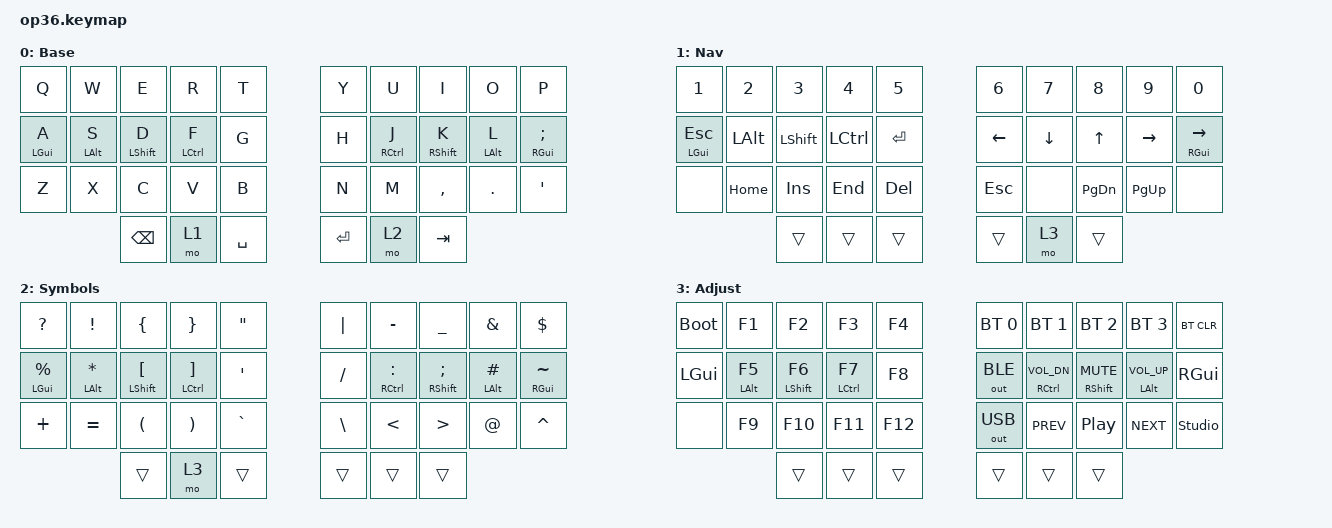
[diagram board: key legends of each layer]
#include "keys_ru.h"
#include <behaviors.dtsi>
#include <dt-bindings/zmk/bt.h>
#include <dt-bindings/zmk/keys.h>
#include <dt-bindings/zmk/outputs.h>

&mt {
    quick-tap-ms = <200>;
    flavor = "tap-preferred";
    require-prior-idle-ms = <125>;
};

/ {
    behaviors {
        hml: home_row_mod_left {
            compatible = "zmk,behavior-hold-tap";
            #binding-cells = <2>;
            flavor = "balanced";
            require-prior-idle-ms = <150>;
            tapping-term-ms = <280>;
            quick-tap-ms = <175>;
            bindings = <&kp>, <&kp>;

            hold-trigger-key-positions = <5 6 7 8 9 15 16 17 18 19 25 26 27 28 29 33 34 35>;
            hold-trigger-on-release;
        };

        hmr: home_row_mod_right {
            compatible = "zmk,behavior-hold-tap";
            #binding-cells = <2>;
            flavor = "balanced";
            require-prior-idle-ms = <150>;
            tapping-term-ms = <280>;
            quick-tap-ms = <175>;
            bindings = <&kp>, <&kp>;

            hold-trigger-key-positions = <0 1 2 3 4 10 11 12 13 14 20 21 22 23 24 30 31 32>;
            hold-trigger-on-release;
        };
    };

    combos {
        compatible = "zmk,combos";

        kha {
            bindings = <&kp LBKT>;
            key-positions = <6 7>;
        };

        hrdsgn {
            bindings = <&kp RBKT>;
            key-positions = <7 8>;
        };
    };

    keymap {
        compatible = "zmk,keymap";

        base {
            bindings = <
  &kp Q        &kp W        &kp E         &kp R          &kp T                          &kp Y  &kp U         &kp I         &kp O        &kp P
  &hml LGUI A  &hml LALT S  &hml LSHFT D  &hml LCTRL F   &kp G                          &kp H  &hmr RCTRL J  &hmr RSHFT K  &hmr LALT L  &hmr RGUI SEMICOLON
  &kp Z        &kp X        &kp C         &kp V          &kp B                          &kp N  &kp M         &kp COMMA     &kp DOT      &kp SQT
                                          &kp BACKSPACE  &mo 1  &kp SPACE    &kp ENTER  &mo 2  &kp TAB
            >;

            display-name = "Base";
        };

        nav {
            bindings = <
  &kp N1         &kp N2    &kp N3     &kp N4     &kp N5                        &kp N6          &kp N7          &kp N8     &kp N9     &kp N0
  &hml LGUI ESC  &kp LALT  &kp LSHFT  &kp LCTRL  &kp ENTER                     &kp LEFT_ARROW  &kp DOWN_ARROW  &kp UP     &kp RIGHT  &hmr RGUI RIGHT
  &none          &kp HOME  &kp INS    &kp END    &kp DELETE                    &kp ESC         &none           &kp PG_DN  &kp PG_UP  &none
                                      &trans     &trans      &trans    &trans  &mo 3           &trans
            >;

            display-name = "Nav";
        };

        sym {
            bindings = <
  &kp QUESTION       &kp EXCLAMATION  &kp LEFT_BRACE           &kp RIGHT_BRACE           &kp DOUBLE_QUOTES                    &kp PIPE  &kp MINUS         &kp UNDER             &kp AMPERSAND   &kp DOLLAR
  &hml LGUI PERCENT  &hml LALT ASTRK  &hml LSHFT LEFT_BRACKET  &hml LCTRL RIGHT_BRACKET  &kp SINGLE_QUOTE                     &kp FSLH  &hmr RCTRL COLON  &hmr RSHFT SEMICOLON  &hmr LALT HASH  &hmr RGUI TILDE
  &kp PLUS           &kp EQUAL        &kp LEFT_PARENTHESIS     &kp RIGHT_PARENTHESIS     &kp GRAVE                            &kp BSLH  &kp LESS_THAN     &kp GREATER_THAN      &kp AT_SIGN     &kp CARET
                                                               &trans                    &mo 3              &trans    &trans  &trans    &trans
            >;

            display-name = "Symbols";
        };

        adj {
            bindings = <
  &bootloader  &kp F1        &kp F2         &kp F3         &kp F4                     &bt BT_SEL 0  &bt BT_SEL 1         &bt BT_SEL 2       &bt BT_SEL 3        &bt BT_CLR
  &kp LGUI     &hml LALT F5  &hml LSHFT F6  &hml LCTRL F7  &kp F8                     &out OUT_BLE  &hmr RCTRL C_VOL_DN  &hmr RSHFT C_MUTE  &hmr LALT C_VOL_UP  &kp RGUI
  &none        &kp F9        &kp F10        &kp F11        &kp F12                    &out OUT_USB  &kp C_PREV           &kp C_PP           &kp C_NEXT          &studio_unlock
                                            &trans         &trans   &trans    &trans  &trans        &trans
            >;

            display-name = "Adjust";
        };
    };
};
